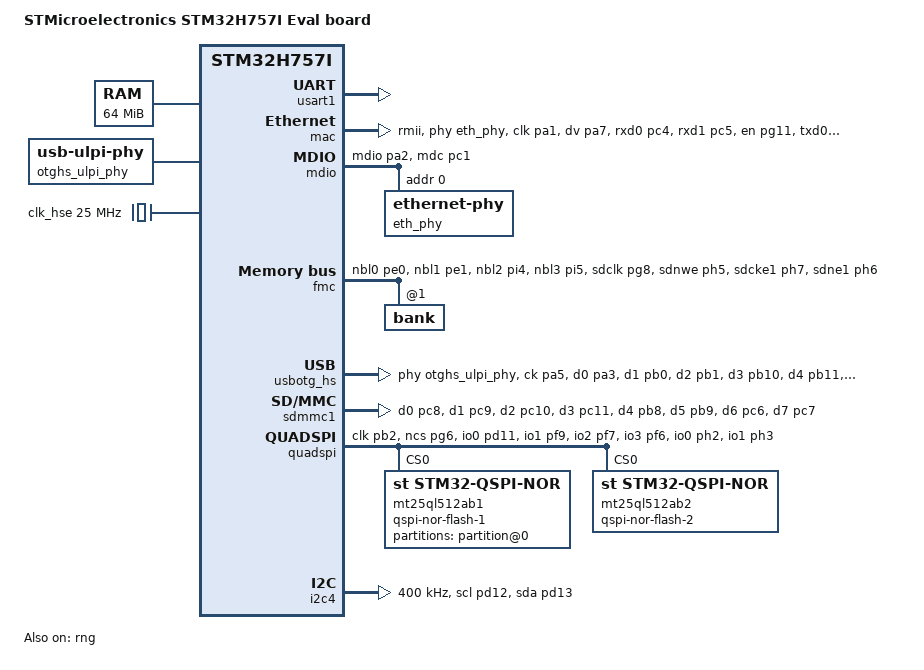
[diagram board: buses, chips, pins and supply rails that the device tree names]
/*
 * Copyright (c) 2019 Linaro Limited
 * Copyright (c) 2025 Foss Analytical A/S
 *
 * SPDX-License-Identifier: Apache-2.0
 */

/dts-v1/;
#include <st/h7/stm32h757Xi_m7.dtsi>
#include <st/h7/stm32h757xihx-pinctrl.dtsi>
#include <zephyr/dt-bindings/memory-attr/memory-attr-arm.h>
#include "stm32h757i_eval.dtsi"


/ {
	model = "STMicroelectronics STM32H757I Eval board";
	compatible = "st,stm32h757i-eval";

	/* HW resources are split between CM7 and CM4 */
	chosen {
		zephyr,console = &usart1;
		zephyr,shell-uart = &usart1;
		zephyr,sram = &sram0;
		zephyr,flash = &flash0;
		zephyr,flash-controller = &mt25ql512ab1;
		zephyr,code-partition = &slot0_partition;
	};

	sdram2: sdram@d0000000 {
		compatible = "zephyr,memory-region", "mmio-sram";
		device_type = "memory";
		reg = <0xd0000000 DT_SIZE_M(32)>;
		zephyr,memory-region = "SDRAM2";
		zephyr,memory-attr = <( DT_MEM_ARM(ATTR_MPU_RAM) )>;
	};

	ext_memory: memory@90000000 {
		compatible = "zephyr,memory-region";
		reg = <0x90000000 DT_SIZE_M(64)>; /* 512 Mbits */
		zephyr,memory-region = "EXTMEM";
		/* The ATTR_MPU_EXTMEM attribut causing a MPU FAULT */
		zephyr,memory-attr = <( DT_MEM_ARM(ATTR_MPU_IO) )>;
	};

	leds {
		green_led_1: led_1 {
			status = "okay";
		};

		orange_led_2: led_2 {
			status = "okay";
		};

		red_led_3: led_3 {
			status = "okay";
		};

		blue_led_4: led_4 {
			status = "okay";
		};
	};

	gpio_keys {
		wake_up: button_1 {
			status = "okay";
		};

		tamper: button_2 {
			status = "okay";
		};
	};

	otghs_ulpi_phy: otghs_ulpis_phy {
		compatible = "usb-ulpi-phy";
		#phy-cells = <0>;
	};

	aliases {
		led0 = &green_led_1;
		led1 = &orange_led_2;
		led2 = &red_led_3;
		led3 = &blue_led_4;
		sw0 = &tamper;
	};
};

&clk_hse {
	clock-frequency = <DT_FREQ_M(25)>;
	status = "okay";
};

&clk_hsi48 {
	status = "okay";
};

&pll {
	div-m = <5>;
	mul-n = <160>;
	div-p = <2>;
	div-q = <4>;
	div-r = <2>;
	clocks = <&clk_hse>;
	status = "okay";
};

&pll2 {
	div-m = <5>;
	mul-n = <96>;
	div-p = <2>;
	div-q = <4>;
	div-r = <10>;
	clocks = <&clk_hse>;  /* Assuming 25MHz HSE */
	status = "okay";
};

&rcc {
	clocks = <&pll>;
	clock-frequency = <DT_FREQ_M(400)>;
};

&usart1 {
	status = "okay";
};

&flash0 {
	partitions {
		compatible = "fixed-partitions";
		#address-cells = <1>;
		#size-cells = <1>;

		boot_partition: partition@0 {
			label = "mcuboot";
			reg = <0x00000000 DT_SIZE_K(128)>;
		};

		slot0_partition: partition@20000 {
			label = "image-0";
			reg = <0x00020000 DT_SIZE_K(896)>;
		};

		slot1_partition: partition@100000 {
			label = "image-1";
			reg = <0x00100000 DT_SIZE_K(896)>;
		};

		storage_partition: partition@1e0000 {
			label = "storage";
			reg = <0x001e0000 DT_SIZE_K(128)>;
		};
	};
};

&mac {
	status = "okay";
	pinctrl-0 = <&eth_ref_clk_pa1
		     &eth_crs_dv_pa7
		     &eth_rxd0_pc4
		     &eth_rxd1_pc5
		     &eth_tx_en_pg11
		     &eth_txd0_pg13
		     &eth_txd1_pg12>;
	pinctrl-names = "default";
	phy-connection-type = "rmii";
	phy-handle = <&eth_phy>;
};

&mdio {
	status = "okay";
	pinctrl-0 = <&eth_mdio_pa2 &eth_mdc_pc1>;
	pinctrl-names = "default";

	eth_phy: ethernet-phy@0 {
		compatible = "ethernet-phy";
		reg = <0x00>;
	};
};

&rng {
	status = "okay";
};

&fmc {
	status = "okay";
	pinctrl-0 = <&fmc_nbl0_pe0 &fmc_nbl1_pe1 &fmc_nbl2_pi4 &fmc_nbl3_pi5
		     &fmc_sdclk_pg8 &fmc_sdnwe_ph5 &fmc_sdcke1_ph7
		     &fmc_sdne1_ph6 &fmc_sdnras_pf11 &fmc_sdncas_pg15
		     &fmc_a0_pf0 &fmc_a1_pf1 &fmc_a2_pf2 &fmc_a3_pf3 &fmc_a4_pf4
		     &fmc_a5_pf5 &fmc_a6_pf12 &fmc_a7_pf13 &fmc_a8_pf14
		     &fmc_a9_pf15 &fmc_a10_pg0 &fmc_a11_pg1 &fmc_a12_pg2
		     &fmc_a14_pg4 &fmc_a15_pg5 &fmc_d0_pd14 &fmc_d1_pd15
		     &fmc_d2_pd0 &fmc_d3_pd1 &fmc_d4_pe7 &fmc_d5_pe8 &fmc_d6_pe9
		     &fmc_d7_pe10 &fmc_d8_pe11 &fmc_d9_pe12 &fmc_d10_pe13
		     &fmc_d11_pe14 &fmc_d12_pe15 &fmc_d13_pd8 &fmc_d14_pd9
		     &fmc_d15_pd10 &fmc_d16_ph8 &fmc_d17_ph9 &fmc_d18_ph10
		     &fmc_d19_ph11 &fmc_d20_ph12 &fmc_d21_ph13 &fmc_d22_ph14
		     &fmc_d23_ph15 &fmc_d24_pi0 &fmc_d25_pi1 &fmc_d26_pi2
		     &fmc_d27_pi3 &fmc_d28_pi6 &fmc_d29_pi7 &fmc_d30_pi9
		     &fmc_d31_pi10>;
	pinctrl-names = "default";

	sdram {
		status = "okay";

		power-up-delay = <100>;
		num-auto-refresh = <8>;
		mode-register = <0x220>;
		refresh-rate = <603>;

		bank@1 {
			reg = <1>;

			st,sdram-control = <STM32_FMC_SDRAM_NC_9
					    STM32_FMC_SDRAM_NR_12
					    STM32_FMC_SDRAM_MWID_32
					    STM32_FMC_SDRAM_NB_4
					    STM32_FMC_SDRAM_CAS_2
					    STM32_FMC_SDRAM_SDCLK_PERIOD_2
					    STM32_FMC_SDRAM_RBURST_ENABLE
					    STM32_FMC_SDRAM_RPIPE_0>;
			st,sdram-timing = <2 6 4 6 2 2 2>;
		};
	};
};

zephyr_udc0: &usbotg_hs {
	pinctrl-0 = <&usb_otg_hs_ulpi_ck_pa5
			&usb_otg_hs_ulpi_d0_pa3
			&usb_otg_hs_ulpi_d1_pb0
			&usb_otg_hs_ulpi_d2_pb1
			&usb_otg_hs_ulpi_d3_pb10
			&usb_otg_hs_ulpi_d4_pb11
			&usb_otg_hs_ulpi_d5_pb12
			&usb_otg_hs_ulpi_d6_pb13
			&usb_otg_hs_ulpi_d7_pb5
			&usb_otg_hs_ulpi_stp_pc0
			&usb_otg_hs_ulpi_dir_pi11
			&usb_otg_hs_ulpi_nxt_ph4>;
	pinctrl-names = "default";
	maximum-speed = "high-speed";
	/* Include the USB1ULPIEN clock enable bit */
	clocks = <&rcc STM32_CLOCK_BUS_AHB1 0x06000000>,
		 <&rcc STM32_SRC_HSI48 USB_SEL(3)>;
	phys = <&otghs_ulpi_phy>;
	status = "okay";
};

&sdmmc1 {
	status = "okay";
	clocks = <&rcc STM32_CLOCK(AHB3, 16)>,
			<&rcc STM32_SRC_PLL2_R SDMMC_SEL(1)>;
	pinctrl-0 = <&sdmmc1_d0_pc8 &sdmmc1_d1_pc9
			&sdmmc1_d2_pc10 &sdmmc1_d3_pc11
			&sdmmc1_d4_pb8 &sdmmc1_d5_pb9
			&sdmmc1_d6_pc6 &sdmmc1_d7_pc7
			&sdmmc1_ck_pc12 &sdmmc1_cmd_pd2>;
	pinctrl-names = "default";
	cd-gpios = <&gpioi 8 GPIO_ACTIVE_LOW>;
	disk-name = "SD";
};

&quadspi {
	pinctrl-0 = <&quadspi_clk_pb2 &quadspi_bk1_ncs_pg6
		     &quadspi_bk1_io0_pd11 &quadspi_bk1_io1_pf9
		     &quadspi_bk1_io2_pf7 &quadspi_bk1_io3_pf6
		     &quadspi_bk2_io0_ph2 &quadspi_bk2_io1_ph3
		     &quadspi_bk2_io2_pg9 &quadspi_bk2_io3_pg14>;
	pinctrl-names = "default";
	dual-flash;
	status = "okay";

	mt25ql512ab1: qspi-nor-flash-1@0 {
		compatible = "st,stm32-qspi-nor";
		reg = <0>;
		size = <DT_SIZE_M(512)>; /* 512 Mbits */
		qspi-max-frequency = <72000000>;
		cs-high-time = <4>; /* >= 50 ns */
		spi-bus-width = <4>;
		reset-cmd;
		status = "okay";

		partitions {
			compatible = "fixed-partitions";
			#address-cells = <1>;
			#size-cells = <1>;

			partition@0 {
				reg = <0x0 DT_SIZE_M(64)>;
			};
		};
	};

	mt25ql512ab2: qspi-nor-flash-2@0 {
		compatible = "st,stm32-qspi-nor";
		reg = <0>;
		size = <DT_SIZE_M(512)>; /* 512 Mbits */
		qspi-max-frequency = <72000000>;
		status = "okay";
	};
};

/* alias used by display shields with touch control */
qsh_030_i2c: &i2c4 {
	pinctrl-0 = <&i2c4_scl_pd12 &i2c4_sda_pd13>;
	pinctrl-names = "default";
	clock-frequency = <I2C_BITRATE_FAST>;
	status = "okay";
};

/* alias used by display shields */
zephyr_mipi_dsi: &mipi_dsi {};

/* alias used by LCD display shields */
zephyr_lcd_controller: &ltdc {};
